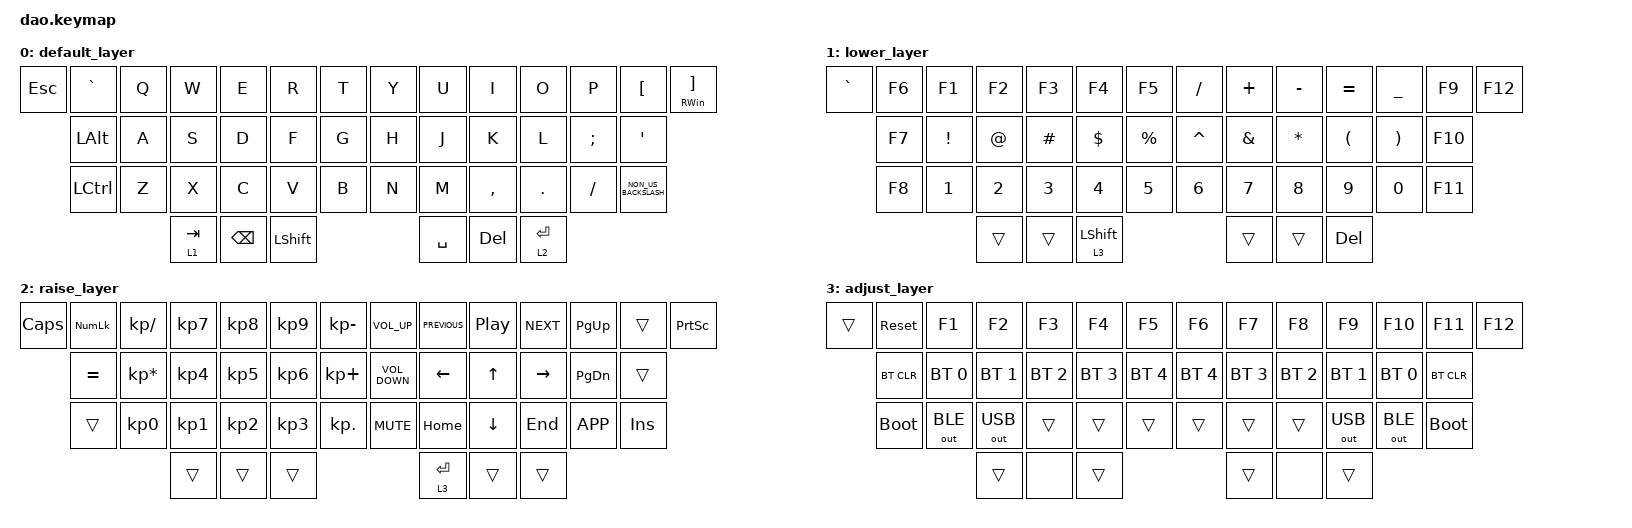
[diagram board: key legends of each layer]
/*
 * Copyright (c) 2020 The ZMK Contributors
 *
 * SPDX-License-Identifier: MIT
 */

#include <behaviors.dtsi>
#include <dt-bindings/zmk/keys.h>
#include <dt-bindings/zmk/bt.h>
#include <dt-bindings/zmk/outputs.h>

    &mt {
        tapping-term-ms = <250>; //<130>
        flavor = "hold-preferred";
        };
    &lt {
        tapping-term-ms = <250>; //<130>
        flavor = "hold-preferred";
        };
       
    
    &caps_word {
    continue-list = <UNDERSCORE MINUS BACKSPACE>;
        };

/ {
    behaviors {  
            retcapsword: shift_ret_caps {
            compatible = "zmk,behavior-mod-morph";
            label = "SHIFT_CAPS";
            #binding-cells = <0>;
            bindings = <&kp RET>, <&caps_word>;
            mods = <(MOD_LSFT)>;
        };
    };
    
  keymap {
                compatible = "zmk,keymap";

                default_layer {
                        bindings = <
                  
    &kp ESC &kp GRAVE &kp Q   &kp W    &kp E    &kp R    &kp T          &kp Y    &kp U    &kp I       &kp O     &kp P      &kp LEFT_BRACKET    &mt RWIN RIGHT_BRACKET //&kp RIGHT_BRACKET
          &kp LALT    &kp A   &kp S    &kp D    &kp F    &kp G          &kp H    &kp J    &kp K       &kp L     &kp SEMI   &kp SQT
         &kp LCTRL    &kp Z   &kp X    &kp C    &kp V    &kp B          &kp N    &kp M    &kp COMMA   &kp DOT   &kp FSLH   &kp NON_US_BACKSLASH
                              // &lt 1 TAB  &kp SPACE &kp LSHIFT           &retcapsword &kp BACKSPACE &lt 2 DEL
                              &lt 1 TAB  &kp BACKSPACE &kp LSHIFT           &kp SPACE &kp DEL &lt 2 RET
                        >;
                };
                lower_layer {
                        bindings = <
    &kp GRAVE &kp F6   &kp F1   &kp F2 &kp F3   &kp F4   &kp F5           &kp SLASH    &kp PLUS   &kp MINUS   &kp EQUAL   &kp UNDERSCORE  &kp F9 &kp F12
             &kp F7 &kp EXCL &kp AT &kp HASH &kp DLLR &kp PRCNT            &kp CARET &kp AMPS &kp STAR &kp LPAR &kp RPAR &kp F10
              &kp F8 &kp N1   &kp N2 &kp N3   &kp N4   &kp N5             &kp N6    &kp N7   &kp N8   &kp N9   &kp N0   &kp F11
                           &trans       &trans     &lt 3 LSHIFT                  &trans  &trans   &kp DEL
                        >;
                };

                raise_layer {
                        bindings = <
   &kp CAPS &kp KP_NUM   &kp KP_SLASH    &kp KP_N7 &kp KP_N8 &kp KP_N9 &kp KP_MINUS        &kp C_VOLUME_UP &kp C_PREVIOUS &kp C_PLAY_PAUSE &kp C_NEXT &kp PAGE_UP &trans &kp PSCRN
               &kp EQUAL &kp KP_MULTIPLY &kp KP_N4 &kp KP_N5 &kp KP_N6 &kp KP_PLUS         &kp C_VOLUME_DOWN   &kp LEFT &kp UP  &kp RIGHT &kp PAGE_DOWN  &trans
                   &trans   &kp KP_N0   &kp KP_N1 &kp KP_N2 &kp KP_N3 &kp KP_DOT          &kp C_MUTE &kp HOME  &kp DOWN  &kp END &kp K_APP &kp INSERT

                    	              &trans    &trans    &trans           &lt 3 RET        &trans           &trans
                        >;
                };
                
                adjust_layer {
                        bindings = <
  &trans    &sys_reset        &kp F1        &kp F2     &kp F3    &kp F4    &kp F5                      &kp F6       &kp F7     &kp F8         &kp F9      &kp F10   &kp F11  &kp F12
   &bt BT_CLR    &bt BT_SEL 0     &bt BT_SEL 1    &bt BT_SEL 2    &bt BT_SEL 3    &bt BT_SEL 4          &bt BT_SEL 4     &bt BT_SEL 3         &bt BT_SEL 2      &bt BT_SEL 1   &bt BT_SEL 0   &bt BT_CLR
   &bootloader   &out OUT_BLE     &out OUT_USB    &trans    &trans    &trans          &trans             &trans         &trans      &out OUT_USB   &out OUT_BLE   &bootloader
                    	              &trans    &none     &trans                                          &trans     &none              &trans
                        >;
                };
        };
};
